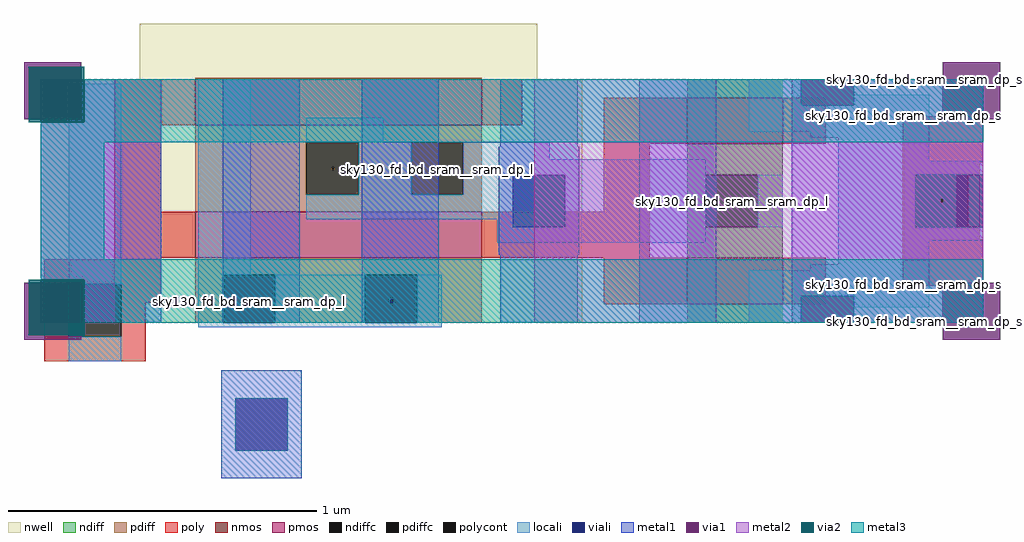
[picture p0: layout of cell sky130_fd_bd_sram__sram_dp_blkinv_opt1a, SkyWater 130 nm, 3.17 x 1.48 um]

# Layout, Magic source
magic
tech sky130A
magscale 1 2
<< pdiff >>
rect 100 158 286 159
<< locali >>
rect 118 -3 152 0
rect 210 -3 244 0
use sky130_fd_bd_sram__sram_dp_blkinv_base  sky130_fd_bd_sram__sram_dp_blkinv_base_0
transform 1 0 0 0 1 0
box 0 -3 612 194
use sky130_fd_bd_sram__sram_dp_blkinv_plic1  sky130_fd_bd_sram__sram_dp_blkinv_plic1_0
transform 1 0 0 0 1 -40
box 2 15 78 195
use sky130_fd_bd_sram__sram_dp_blkinv_met23  sky130_fd_bd_sram__sram_dp_blkinv_met23_0
transform 1 0 0 0 1 0
box -11 -11 622 169
use sky130_fd_bd_sram__sram_dp_blkinv_mcon  sky130_fd_bd_sram__sram_dp_blkinv_mcon_0
transform 1 0 126 0 1 -92
box -9 -9 223 206
<< properties >>
string GDS_FILE sky130_fd_bd_sram__sram_dp_blkinv_opt1a.gds
string GDS_END 6248
string GDS_START 5928
<< end >>

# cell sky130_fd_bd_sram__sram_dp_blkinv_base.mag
magic
tech sky130A
magscale 1 2
<< nwell >>
rect 64 158 322 194
rect 0 0 351 158
<< nmos >>
rect 419 116 481 146
rect 419 12 481 42
<< pmos >>
rect 100 128 286 158
rect 100 42 286 72
<< ndiff >>
rect 419 146 481 158
rect 419 96 481 116
rect 419 62 431 96
rect 465 62 481 96
rect 419 42 481 62
rect 419 0 481 12
<< pdiff >>
rect 100 158 286 159
rect 100 117 286 128
rect 100 83 172 117
rect 206 83 240 117
rect 274 83 286 117
rect 100 72 286 83
rect 100 31 286 42
rect 100 0 118 31
rect 152 0 210 31
rect 244 0 286 31
<< ndiffc >>
rect 431 62 465 96
<< pdiffc >>
rect 172 83 206 117
rect 240 83 274 117
rect 118 0 152 31
rect 210 0 244 31
<< poly >>
rect 48 128 100 158
rect 286 128 312 158
rect 48 72 78 128
rect 365 116 419 146
rect 481 116 509 146
rect 365 72 395 116
rect 48 42 100 72
rect 286 42 395 72
rect 559 104 611 134
rect 559 96 609 104
rect 559 62 567 96
rect 601 62 609 96
rect 559 54 609 62
rect 365 12 419 42
rect 481 12 509 42
rect 559 24 611 54
<< polycont >>
rect 567 62 601 96
<< locali >>
rect 102 31 136 158
rect 459 141 493 158
rect 527 141 576 148
rect 172 117 222 133
rect 459 124 576 141
rect 499 120 576 124
rect 206 83 240 117
rect 274 106 330 117
rect 274 83 431 106
rect 517 105 576 120
rect 517 96 611 105
rect 172 67 431 83
rect 296 52 431 67
rect 465 62 481 96
rect 517 62 567 96
rect 517 53 611 62
rect 517 38 576 53
rect 499 34 576 38
rect 102 0 118 31
rect 152 0 210 31
rect 244 0 260 31
rect 459 17 576 34
rect 459 0 493 17
rect 527 10 576 17
rect 102 -3 260 0
<< viali >>
rect 493 141 527 158
rect 594 62 601 96
rect 601 62 611 96
rect 493 0 527 17
<< metal1 >>
rect 0 0 78 158
rect 118 0 168 158
rect 208 0 258 158
rect 298 0 348 158
rect 388 0 438 158
rect 487 141 493 158
rect 527 141 611 158
rect 487 96 611 141
rect 487 62 594 96
rect 487 17 611 62
rect 487 0 493 17
rect 527 0 611 17
use sky130_fd_bd_sram__sram_dp_blkinv_p1m_siz  sky130_fd_bd_sram__sram_dp_blkinv_p1m_siz_0
transform 1 0 90 0 1 18
box 469 6 470 117
use sky130_fd_bd_sram__sram_dp_licon_1  sky130_fd_bd_sram__sram_dp_licon_1_0
transform 1 0 257 0 1 100
box 0 -1 1 1
use sky130_fd_bd_sram__sram_dp_licon_1  sky130_fd_bd_sram__sram_dp_licon_1_1
transform 1 0 189 0 1 100
box 0 -1 1 1
use sky130_fd_bd_sram__sram_dp_licon_1  sky130_fd_bd_sram__sram_dp_licon_1_2
transform 1 0 135 0 1 14
box 0 -1 1 1
use sky130_fd_bd_sram__sram_dp_licon_1  sky130_fd_bd_sram__sram_dp_licon_1_3
transform 1 0 227 0 1 14
box 0 -1 1 1
use sky130_fd_bd_sram__sram_dp_licon_1  sky130_fd_bd_sram__sram_dp_licon_1_4
transform 1 0 448 0 1 79
box 0 -1 1 1
use sky130_fd_bd_sram__sram_dp_licon_1  sky130_fd_bd_sram__sram_dp_licon_1_5
transform 1 0 584 0 1 79
box 0 -1 1 1
use sky130_fd_bd_sram__sram_dp_swldrv_li_drop  sky130_fd_bd_sram__sram_dp_swldrv_li_drop_0
transform 1 0 611 0 1 0
box 0 0 1 1
use sky130_fd_bd_sram__sram_dp_swldrv_li_drop  sky130_fd_bd_sram__sram_dp_swldrv_li_drop_1
transform 1 0 611 0 -1 158
box 0 0 1 1
<< properties >>
string GDS_FILE sky130_fd_bd_sram__sram_dp_blkinv_base.gds
string GDS_END 4066
string GDS_START 1558
<< end >>

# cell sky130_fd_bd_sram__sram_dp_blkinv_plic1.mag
magic
tech sky130A
magscale 1 2
<< poly >>
rect 48 81 78 82
rect 2 65 78 81
rect 2 31 18 65
rect 52 53 78 65
rect 52 31 68 53
rect 2 15 68 31
<< polycont >>
rect 18 31 52 65
<< locali >>
rect 18 65 52 195
rect 18 15 52 31
<< properties >>
string GDS_FILE sky130_fd_bd_sram__sram_dp_blkinv_plic1.gds
string GDS_END 462
string GDS_START 170
<< end >>

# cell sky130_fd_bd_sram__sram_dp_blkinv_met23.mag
magic
tech sky130A
magscale 1 2
<< via1 >>
rect -11 132 26 169
rect 585 132 622 169
rect -11 -11 26 26
rect 585 -11 622 26
<< metal2 >>
rect 28 130 48 158
rect 0 28 48 130
rect 28 0 48 28
rect 320 132 585 158
rect 320 26 611 132
rect 320 0 585 26
<< via2 >>
rect -8 132 26 166
rect 26 132 28 166
rect -8 130 28 132
rect -8 26 28 28
rect -8 -8 26 26
rect 26 -8 28 26
<< metal3 >>
rect 28 130 611 158
rect 0 117 611 130
rect 0 41 41 117
rect 0 28 611 41
rect 28 0 611 28
<< properties >>
string GDS_FILE sky130_fd_bd_sram__sram_dp_blkinv_met23.gds
string GDS_END 878
string GDS_START 170
<< end >>

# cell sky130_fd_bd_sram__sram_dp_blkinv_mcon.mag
magic
tech sky130A
magscale 1 2
<< metal1 >>
rect 171 136 223 206
rect -9 -9 43 61
use sky130_fd_bd_sram__sram_dp_mcon_1  sky130_fd_bd_sram__sram_dp_mcon_1_0
transform 1 0 17 0 1 26
box -17 -17 17 17
use sky130_fd_bd_sram__sram_dp_mcon_1  sky130_fd_bd_sram__sram_dp_mcon_1_1
transform 1 0 197 0 1 171
box -17 -17 17 17
<< properties >>
string GDS_FILE sky130_fd_bd_sram__sram_dp_blkinv_mcon.gds
string GDS_END 740
string GDS_START 492
<< end >>

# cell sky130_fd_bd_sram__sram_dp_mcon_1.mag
magic
tech sky130A
magscale 1 2
use sky130_fd_bd_sram__sram_dp_mcon_05  sky130_fd_bd_sram__sram_dp_mcon_05_0
transform 1 0 0 0 -1 0
box -17 0 17 17
use sky130_fd_bd_sram__sram_dp_mcon_05  sky130_fd_bd_sram__sram_dp_mcon_05_1
transform 1 0 0 0 1 0
box -17 0 17 17
<< properties >>
string GDS_FILE sky130_fd_bd_sram__sram_dp_mcon_1.gds
string GDS_END 418
string GDS_START 292
<< end >>

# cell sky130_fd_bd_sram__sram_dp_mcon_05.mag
magic
tech sky130A
magscale 1 2
<< viali >>
rect -17 0 17 17
<< properties >>
string GDS_FILE sky130_fd_bd_sram__sram_dp_mcon_05.gds
string GDS_END 226
string GDS_START 158
<< end >>

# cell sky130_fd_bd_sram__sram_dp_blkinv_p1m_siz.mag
magic
tech sky130A
magscale 1 2
use sky130_fd_bd_sram__sram_dp_swldrv_opt1_poly_siz_optb  sky130_fd_bd_sram__sram_dp_swldrv_opt1_poly_siz_optb_0
transform 1 0 469 0 1 6
box 0 0 1 1
use sky130_fd_bd_sram__sram_dp_swldrv_opt1_poly_siz_opta  sky130_fd_bd_sram__sram_dp_swldrv_opt1_poly_siz_opta_0
transform 1 0 469 0 1 116
box 0 0 1 1
<< properties >>
string GDS_FILE sky130_fd_bd_sram__sram_dp_blkinv_p1m_siz.gds
string GDS_END 1018
string GDS_START 606
<< end >>

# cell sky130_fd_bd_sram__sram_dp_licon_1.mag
magic
tech sky130A
magscale 1 2
use sky130_fd_bd_sram__sram_dp_licon_05  sky130_fd_bd_sram__sram_dp_licon_05_0
transform 1 0 0 0 -1 0
box 0 0 1 1
use sky130_fd_bd_sram__sram_dp_licon_05  sky130_fd_bd_sram__sram_dp_licon_05_1
transform 1 0 0 0 1 0
box 0 0 1 1
<< properties >>
string GDS_FILE sky130_fd_bd_sram__sram_dp_licon_1.gds
string GDS_END 424
string GDS_START 294
<< end >>
